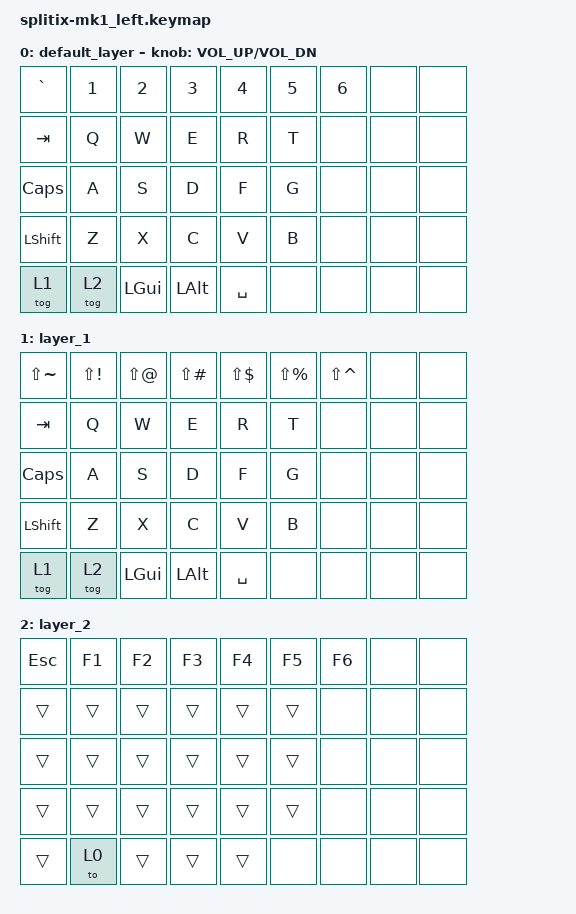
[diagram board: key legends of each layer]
#include <behaviors.dtsi>
#include <dt-bindings/zmk/keys.h>

/ {
    keymap {
        compatible = "zmk,keymap";

        default_layer {
            bindings = <
                &kp GRAVE &kp N1   &kp N2   &kp N3   &kp N4   &kp N5   &kp N6   &none    &none
                &kp TAB  &kp Q    &kp W    &kp E    &kp R    &kp T    &none    &none    &none
                &kp CAPS &kp A    &kp S    &kp D    &kp F    &kp G    &none    &none    &none
                &kp LSHFT &kp Z   &kp X    &kp C    &kp V    &kp B    &none    &none    &none
                &tog 1   &tog 2  &kp LGUI  &kp LALT &kp SPACE &none    &none    &none    &none
            >;

            sensor-bindings = <&inc_dec_kp C_VOL_UP C_VOL_DN>;
        };

        layer_1 {
            bindings = <
                &kp LS(TILDE) &kp LS(EXCL) &kp LS(AT) &kp LS(POUND) &kp LS(DLLR) &kp LS(PRCNT) &kp LS(CARET) &none    &none
                &kp TAB  &kp Q    &kp W    &kp E    &kp R    &kp T    &none    &none    &none
                &kp CAPS &kp A    &kp S    &kp D    &kp F    &kp G    &none    &none    &none
                &kp LSHFT &kp Z   &kp X    &kp C    &kp V    &kp B    &none    &none    &none
                &tog 1   &tog 2  &kp LGUI  &kp LALT &kp SPACE &none    &none    &none    &none
            >;
        };

        layer_2 {
            bindings = <
                &kp ESC   &kp F1   &kp F2   &kp F3   &kp F4   &kp F5   &kp F6   &none    &none
                &trans   &trans   &trans   &trans   &trans   &trans   &none    &none    &none
                &trans   &trans   &trans   &trans   &trans   &trans   &none    &none    &none
                &trans   &trans   &trans   &trans   &trans   &trans   &none    &none    &none
                &trans   &to 0   &trans   &trans   &trans   &none    &none    &none    &none
            >;
        };
    };
};
